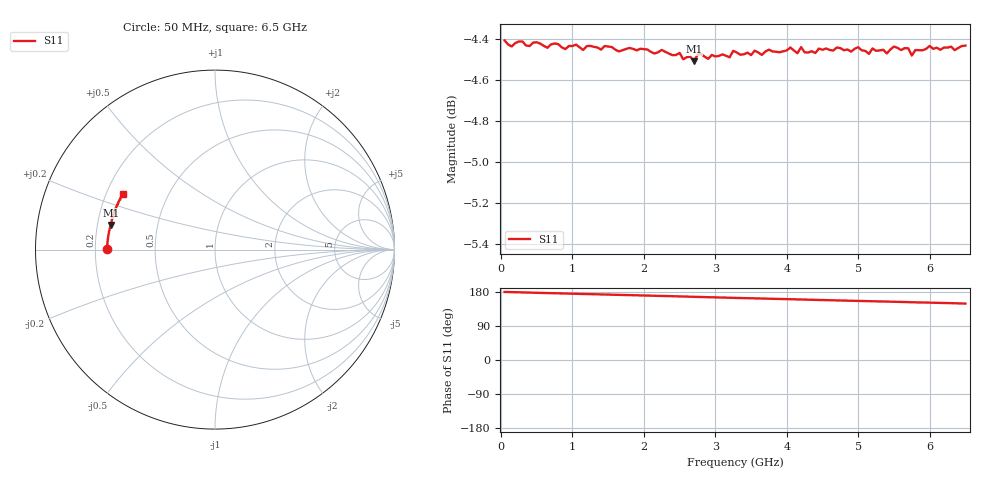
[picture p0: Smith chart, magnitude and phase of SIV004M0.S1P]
! (c) 1999  Infineon Technologies AG, Munich
! Infineon Technologies  Discrete & RF Semiconductors
! BAT24-02LS
! Si Schottky Diode in TSSLP-2
! IF = 4 mA
! S-Parameters:  July  2007
# GHz  S  MA  R  50
!  f  S11
! GHz  MAG  ANG
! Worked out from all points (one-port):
!   130 points, 50 MHz to 6.5 GHz, reference 50 ohm
!   lowest |S11| = -4.5 dB at 2.7 GHz (marker M1), VSWR 3.94, Z = 12.9 + j5.45 ohm
!   |S11| at or under -10 dB: nowhere
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0.05  0.6019 179.6
0.15  0.5999 179.1
0.25  0.6016 178.6
0.75  0.6009 176.2
0.9  0.599 175.5
1.05  0.6005 174.8
1.7  0.5987 171.7
2.5  0.5978 167.8
2.55  0.5956 167.4
2.6  0.5963 167.3
2.65  0.5965 166.8
2.7  0.595 166.7
2.75  0.5971 166.5
2.9  0.5958 165.7
3.2  0.5963 164.4
3.3  0.5979 163.8
4.1  0.5986 160.1
4.2  0.5997 159.7
4.9  0.5982 156.4
5.3  0.5986 154.5
5.4  0.5976 154.2
5.5  0.5999 153.7
5.7  0.5993 152.6
5.75  0.5969 152.3
5.8  0.5987 152.2
6  0.6001 151.3
6.15  0.5988 150.7
6.5  0.6002 148.9
